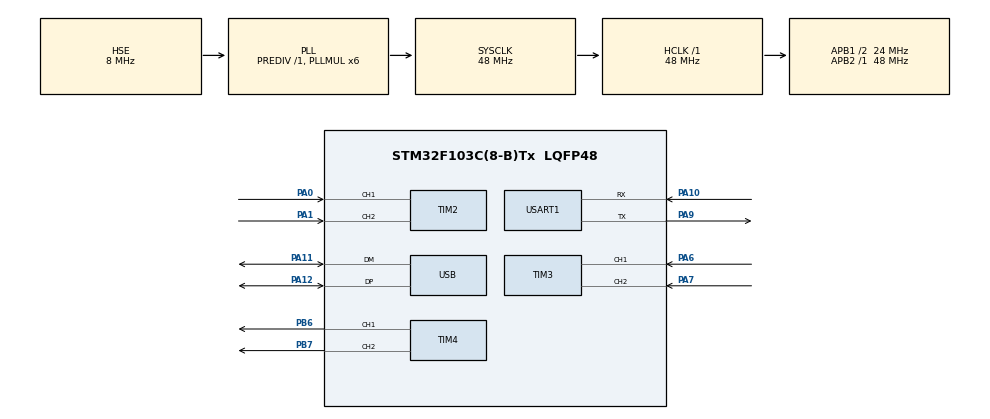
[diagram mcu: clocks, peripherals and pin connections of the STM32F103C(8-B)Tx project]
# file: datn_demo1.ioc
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Dma.Request0=USART1_RX
Dma.Request1=USART1_TX
Dma.USART1_RX.0.Direction=DMA_PERIPH_TO_MEMORY
Dma.USART1_RX.0.Instance=DMA1_Channel5
Dma.USART1_RX.0.MemDataAlignment=DMA_MDATAALIGN_BYTE
Dma.USART1_RX.0.MemInc=DMA_MINC_ENABLE
Dma.USART1_RX.0.Mode=DMA_NORMAL
Dma.USART1_RX.0.PeriphDataAlignment=DMA_PDATAALIGN_BYTE
Dma.USART1_RX.0.PeriphInc=DMA_PINC_DISABLE
Dma.USART1_RX.0.Priority=DMA_PRIORITY_VERY_HIGH
Dma.USART1_TX.1.Direction=DMA_MEMORY_TO_PERIPH
Dma.USART1_TX.1.Instance=DMA1_Channel4
Dma.USART1_TX.1.MemDataAlignment=DMA_MDATAALIGN_BYTE
Dma.USART1_TX.1.MemInc=DMA_MINC_ENABLE
Dma.USART1_TX.1.Mode=DMA_CIRCULAR
Dma.USART1_TX.1.PeriphDataAlignment=DMA_PDATAALIGN_BYTE
Dma.USART1_TX.1.PeriphInc=DMA_PINC_DISABLE
Dma.USART1_TX.1.Priority=DMA_PRIORITY_VERY_HIGH
FREERTOS.Tasks01=defaultTask,24,128,StartDefaultTask,Default,NULL,Dynamic,NULL,NULL
Mcu.Family=STM32F1
Mcu.Name=STM32F103C(8-B)Tx
Mcu.Package=LQFP48
NVIC.DMA1_Channel4_IRQn=true\:5\:0\:false\:false\:true\:true\:false\:true\:true
NVIC.DMA1_Channel5_IRQn=true\:5\:0\:false\:false\:true\:true\:false\:true\:true
NVIC.PriorityGroup=NVIC_PRIORITYGROUP_4
NVIC.TIM1_UP_IRQn=true\:15\:0\:false\:false\:true\:false\:false\:true\:true
NVIC.TimeBase=TIM1_UP_IRQn
NVIC.TimeBaseIP=TIM1
NVIC.USART1_IRQn=true\:5\:0\:false\:false\:true\:true\:true\:true\:true
NVIC.USB_LP_CAN1_RX0_IRQn=true\:5\:0\:false\:false\:true\:true\:false\:true\:true
PA0-WKUP.Signal=S_TIM2_CH1_ETR
PA1.Signal=S_TIM2_CH2
PA10.Mode=Asynchronous
PA10.Signal=USART1_RX
PA11.Mode=Device
PA11.Signal=USB_DM
PA12.Mode=Device
PA12.Signal=USB_DP
PA13.Mode=Serial_Wire
PA13.Signal=SYS_JTMS-SWDIO
PA14.Mode=Serial_Wire
PA14.Signal=SYS_JTCK-SWCLK
PA6.Signal=S_TIM3_CH1
PA7.Signal=S_TIM3_CH2
PA9.Mode=Asynchronous
PA9.Signal=USART1_TX
PB6.Signal=S_TIM4_CH1
PB7.Signal=S_TIM4_CH2
PD0-OSC_IN.Mode=HSE-External-Oscillator
PD0-OSC_IN.Signal=RCC_OSC_IN
PD1-OSC_OUT.Mode=HSE-External-Oscillator
PD1-OSC_OUT.Signal=RCC_OSC_OUT
ProjectManager.HeapSize=0x200
ProjectManager.StackSize=0x400
ProjectManager.TargetToolchain=MDK-ARM V5.32
RCC.AHBFreq_Value=48000000
RCC.APB1CLKDivider=RCC_HCLK_DIV2
RCC.APB1Freq_Value=24000000
RCC.APB1TimFreq_Value=48000000
RCC.APB2Freq_Value=48000000
RCC.APB2TimFreq_Value=48000000
RCC.HCLKFreq_Value=48000000
RCC.PLLMUL=RCC_PLL_MUL6
RCC.PLLSourceVirtual=RCC_PLLSOURCE_HSE
RCC.SYSCLKFreq_VALUE=48000000
RCC.SYSCLKSource=RCC_SYSCLKSOURCE_PLLCLK
RCC.USBFreq_Value=48000000
SH.S_TIM2_CH1_ETR.0=TIM2_CH1,Encoder_Interface
SH.S_TIM2_CH2.0=TIM2_CH2,Encoder_Interface
SH.S_TIM3_CH1.0=TIM3_CH1,Encoder_Interface
SH.S_TIM3_CH2.0=TIM3_CH2,Encoder_Interface
SH.S_TIM4_CH1.0=TIM4_CH1,PWM Generation1 CH1
SH.S_TIM4_CH2.0=TIM4_CH2,PWM Generation2 CH2
TIM4.Channel-PWM\ Generation1\ CH1=TIM_CHANNEL_1
TIM4.Channel-PWM\ Generation2\ CH2=TIM_CHANNEL_2
USART1.VirtualMode=VM_ASYNC
USB_DEVICE.CLASS_NAME_FS=CDC
USB_DEVICE.VirtualMode=Cdc
USB_DEVICE.VirtualModeFS=Cdc_FS
VP_FREERTOS_VS_CMSIS_V2.Mode=CMSIS_V2
VP_SYS_VS_tim1.Mode=TIM1
VP_USB_DEVICE_VS_USB_DEVICE_CDC_FS.Mode=CDC_FS
board=custom

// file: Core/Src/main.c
 /* USER CODE BEGIN Header */
/**
  ******************************************************************************
  * @file           : main.c
  * @brief          : Main program body (Encoder + PWM Test)
  ******************************************************************************
  */
/* USER CODE END Header */
#include "main.h"
#include "cmsis_os.h"
#include "usb_device.h"
/* USER CODE BEGIN Includes */
#include "pid.h"
#include "stdlib.h"
#include "stdio.h"
#include <string.h>
#include "usbd_cdc_if.h"
/* USER CODE END Includes */
TIM_HandleTypeDef htim2;
TIM_HandleTypeDef htim3;
TIM_HandleTypeDef htim4;
UART_HandleTypeDef huart1;
DMA_HandleTypeDef hdma_usart1_rx;
DMA_HandleTypeDef hdma_usart1_tx;
/* Definitions for defaultTask */
osThreadId_t defaultTaskHandle;
const osThreadAttr_t defaultTask_attributes = {
  .name = "defaultTask",
  .stack_size = 128 * 4,
  .priority = (osPriority_t) osPriorityNormal,
};
/* USER CODE BEGIN PV */
// --- Biến Encoder tích lũy (Phục vụ lệnh 'e') ---
int32_t total_encoder_left  = 0;
int32_t total_encoder_right = 0;
int16_t last_count_left     = 0;
int16_t last_count_right    = 0;
// --- Biến Vận tốc mục tiêu (Phục vụ lệnh 'm') ---
float target_speed_left  = 0.0f; // Đơn vị: xung / chu kỳ (20ms)
float target_speed_right = 0.0f;
// --- Biến USB Parser ---
char rx_buffer[64];
uint8_t rx_index = 0;
uint8_t openloop_mode = 0;
// --- Biến Debug ---
volatile int16_t debug_delta_left  = 0;
volatile int16_t debug_delta_right = 0;
volatile int32_t debug_pwm_left    = 0;
volatile int32_t debug_pwm_right   = 0;
uint8_t debug_mode = 0;  // 1 = in liên tục delta và PWM
// --- PID cho từng bánh xe (Vòng lặp vận tốc) ---
pid_type_def pid_speed_left;
pid_type_def pid_speed_right;
fp32 params_L[3] = {9.5f,  42.0f, 0.0f};   // Giảm Kp: 11.5→9.5, Ki: 49.8→42.0
fp32 params_R[3] = {60.48f, 85.00f, 0.0f};  // Giữ nguyên bánh phải
// --- Feedforward: PWM tối thiểu để thắng lực ma sát tĩnh ---
#define FF_OFFSET_LEFT   40000.0f
#define FF_OFFSET_RIGHT  60000.0f
#define FF_OFFSET_TURN   50000.0f   // Dùng khi xoay tại chỗ
#define FF_SLOPE_LEFT    80.1f
#define FF_SLOPE_RIGHT   800.1f
#define FF_SLOPE_LEFT_BWD    40.0f
osThreadId_t ChassisTaskHandle;
const osThreadAttr_t ChassisTask_attributes = {
    .name       = "ChassisTask",
    .stack_size = 512 * 4,
    .priority   = (osPriority_t) osPriorityRealtime,
};
/* USER CODE END PV */
void SystemClock_Config(void);
static void MX_GPIO_Init(void);
static void MX_DMA_Init(void);
static void MX_TIM2_Init(void);
static void MX_TIM3_Init(void);
static void MX_TIM4_Init(void);
static void MX_USART1_UART_Init(void);
void StartDefaultTask(void *argument);
/* USER CODE BEGIN PFP */
void stopMotors(void);
void setMotorOutput(int32_t out_l, int32_t out_r);
void StartChassisTask(void *argument);
void USB_Receive_Handler(uint8_t* Buf, uint32_t Len);
/* USER CODE END PFP */
/* USER CODE BEGIN 0 */
// --- Hàm gửi qua USB CDC (chuyển hướng printf) ---
int _write(int file, char *ptr, int len) {
    uint32_t timeout = 0xFFFF;
    while (CDC_Transmit_FS((uint8_t*)ptr, len) == USBD_BUSY && timeout--);
    return len;
}
// --- Gửi chuỗi qua USB CDC ---
void USB_SendString(const char* str) {
    uint16_t len = strlen(str);
    uint32_t timeout = 0xFFFF;
    while (CDC_Transmit_FS((uint8_t*)str, len) == USBD_BUSY && timeout--);
}
// --- Callback nhận dữ liệu từ USB CDC ---
void USB_Receive_Handler(uint8_t* Buf, uint32_t Len) {
    for (uint32_t i = 0; i < Len; i++) {
        uint8_t data = Buf[i];
        if (data == '\r' || data == '\n') {
            rx_buffer[rx_index] = '\0';
            if (rx_index > 0) {
                // Lệnh 'm': Đặt vận tốc mục tiêu (m [speed_L] [speed_R])
                if (rx_buffer[0] == 'm') {
                    float sl = 0, sr = 0;
                    int parsed = sscanf(rx_buffer, "m %f %f", &sl, &sr);
                    if (parsed == 2) {
                        target_speed_left  = sl;
                        target_speed_right = sr;
                        USB_SendString("motor ok\n");
                    }
                }
                // Lệnh 'e': Đọc encoder tích lũy
                else if (rx_buffer[0] == 'e') {
                    char tx_buf[64];
                    int t_len = sprintf(tx_buf, "%ld %ld\n", total_encoder_left, total_encoder_right);
                    CDC_Transmit_FS((uint8_t*)tx_buf, t_len);
                }
                // Lệnh 'r': Reset encoder về 0
                else if (rx_buffer[0] == 'r') {
                    total_encoder_left  = 0;
                    total_encoder_right = 0;
                    USB_SendString("reset ok\n");
                }
                // Lệnh 's': Dừng khẩn cấp
                else if (rx_buffer[0] == 's') {
                    target_speed_left  = 0;
                    target_speed_right = 0;
                    USB_SendString("stop ok\n");
                }
                // Lệnh 'd': Bật/tắt debug (in delta và PWM liên tục)
                else if (rx_buffer[0] == 'd') {
                    debug_mode = !debug_mode;
                    USB_SendString(debug_mode ? "debug on\n" : "debug off\n");
                }
                // Lệnh 'u': Cập nhật tham số PID từ ROS (u Kp:Kd:Ki:Ko)
                else if (rx_buffer[0] == 'u') {
                    int p = 0, d = 0, i = 0, o = 0;
                    int parsed = sscanf(rx_buffer, "u %d:%d:%d:%d", &p, &d, &i, &o);
                    if (parsed >= 3) {
                        params_L[0] = (float)p; params_R[0] = (float)p;
                        params_L[1] = (float)i; params_R[1] = (float)i;
                        params_L[2] = (float)d; params_R[2] = (float)d;
                        PID_init(&pid_speed_left, PID_POSITION, params_L, 65535, 8500);
                        PID_init(&pid_speed_right, PID_POSITION, params_R, 65535, 10000);
                    }
                    USB_SendString("pid ok\n");
                }
                else if (rx_buffer[0] == 'p') {
                openloop_mode = 1;
                int32_t pwm = 0;
                sscanf(rx_buffer, "p %ld", &pwm);
                target_speed_left  = 0;
                target_speed_right = 0;
                // Cấp thẳng PWM, bypass PID
                HAL_GPIO_WritePin(GPIOB, GPIO_PIN_12, GPIO_PIN_RESET);
                HAL_GPIO_WritePin(GPIOB, GPIO_PIN_13, GPIO_PIN_SET);
                HAL_GPIO_WritePin(GPIOB, BIN14_Pin,   GPIO_PIN_RESET);
                HAL_GPIO_WritePin(GPIOB, BIN15_Pin,   GPIO_PIN_SET);
                __HAL_TIM_SET_COMPARE(&htim4, TIM_CHANNEL_1, (uint32_t)pwm);
                __HAL_TIM_SET_COMPARE(&htim4, TIM_CHANNEL_2, (uint32_t)pwm);
                USB_SendString("pwm ok\n");
                 }
            }
            rx_index = 0;
        } else {
            if (rx_index < 63) rx_buffer[rx_index++] = data;
        }
    }
}
// --- Hàm xuất PWM dựa trên giá trị PID (Xử lý chiều quay) ---
void setMotorOutput(int32_t out_l, int32_t out_r) {
    debug_pwm_left  = out_l;
    debug_pwm_right = out_r;

    // Motor Trái
    if (out_l > 0) {
        HAL_GPIO_WritePin(GPIOB, GPIO_PIN_12, GPIO_PIN_RESET);
        HAL_GPIO_WritePin(GPIOB, GPIO_PIN_13, GPIO_PIN_SET);
    } else if (out_l < 0) {
        HAL_GPIO_WritePin(GPIOB, GPIO_PIN_12, GPIO_PIN_SET);
        HAL_GPIO_WritePin(GPIOB, GPIO_PIN_13, GPIO_PIN_RESET);
        out_l = -out_l;
    } else {  // out_l == 0
        HAL_GPIO_WritePin(GPIOB, GPIO_PIN_12, GPIO_PIN_RESET);
        HAL_GPIO_WritePin(GPIOB, GPIO_PIN_13, GPIO_PIN_RESET);
    }

    // Motor Phải
    if (out_r > 0) {
        HAL_GPIO_WritePin(GPIOB, BIN14_Pin, GPIO_PIN_RESET);
        HAL_GPIO_WritePin(GPIOB, BIN15_Pin, GPIO_PIN_SET);
    } else if (out_r < 0) {
        HAL_GPIO_WritePin(GPIOB, BIN14_Pin, GPIO_PIN_SET);
        HAL_GPIO_WritePin(GPIOB, BIN15_Pin, GPIO_PIN_RESET);
        out_r = -out_r;
    } else {  // out_r == 0
        HAL_GPIO_WritePin(GPIOB, BIN14_Pin, GPIO_PIN_RESET);
        HAL_GPIO_WritePin(GPIOB, BIN15_Pin, GPIO_PIN_RESET);
    }

    if (out_l > 65535) out_l = 65535;
    if (out_r > 65535) out_r = 65535;

    __HAL_TIM_SET_COMPARE(&htim4, TIM_CHANNEL_1, out_l);
    __HAL_TIM_SET_COMPARE(&htim4, TIM_CHANNEL_2, out_r);
}
void stopMotors(void)
{
    HAL_GPIO_WritePin(GPIOB, GPIO_PIN_12, GPIO_PIN_RESET);
    HAL_GPIO_WritePin(GPIOB, GPIO_PIN_13, GPIO_PIN_RESET);
    HAL_GPIO_WritePin(GPIOB, BIN14_Pin,   GPIO_PIN_RESET);
    HAL_GPIO_WritePin(GPIOB, BIN15_Pin,   GPIO_PIN_RESET);
    __HAL_TIM_SET_COMPARE(&htim4, TIM_CHANNEL_1, 0);
    __HAL_TIM_SET_COMPARE(&htim4, TIM_CHANNEL_2, 0);
}
/* USER CODE END 0 */
int main(void)
{
  /* MCU Configuration--------------------------------------------------------*/
  /* Reset of all peripherals, Initializes the Flash interface and the Systick. */
  HAL_Init();
  /* Configure the system clock */
  SystemClock_Config();
  /* Initialize all configured peripherals */
  MX_GPIO_Init();
  MX_DMA_Init();
  MX_TIM2_Init();
  MX_TIM3_Init();
  MX_TIM4_Init();
  MX_USART1_UART_Init();
  /* USER CODE BEGIN 2 */
    // Khởi tạo PID vận tốc cho 2 bánh
    PID_init(&pid_speed_left, PID_POSITION, params_L, 65535, 8500);
    PID_init(&pid_speed_right, PID_POSITION, params_R, 65535, 10000);
    HAL_TIM_PWM_Start(&htim4, TIM_CHANNEL_1);
    HAL_TIM_PWM_Start(&htim4, TIM_CHANNEL_2);
    HAL_TIM_Encoder_Start(&htim2, TIM_CHANNEL_ALL);
    HAL_TIM_Encoder_Start(&htim3, TIM_CHANNEL_ALL);
    ChassisTaskHandle = osThreadNew(StartChassisTask, NULL, &ChassisTask_attributes);
  /* USER CODE END 2 */
  /* Init scheduler */
  osKernelInitialize();
  /* Create the thread(s) */
  /* creation of defaultTask */
  defaultTaskHandle = osThreadNew(StartDefaultTask, NULL, &defaultTask_attributes);
  /* Start scheduler */
  osKernelStart();
  /* We should never get here as control is now taken by the scheduler */
  /* Infinite loop */
  while (1)
  {
  }
}
void SystemClock_Config(void)
{
  RCC_OscInitTypeDef RCC_OscInitStruct = {0};
  RCC_ClkInitTypeDef RCC_ClkInitStruct = {0};
  RCC_PeriphCLKInitTypeDef PeriphClkInit = {0};
  /** Initializes the RCC Oscillators according to the specified parameters
  * in the RCC_OscInitTypeDef structure.
  */
  RCC_OscInitStruct.OscillatorType = RCC_OSCILLATORTYPE_HSE;
  RCC_OscInitStruct.HSEState = RCC_HSE_ON;
  RCC_OscInitStruct.HSEPredivValue = RCC_HSE_PREDIV_DIV1;
  RCC_OscInitStruct.HSIState = RCC_HSI_ON;
  RCC_OscInitStruct.PLL.PLLState = RCC_PLL_ON;
  RCC_OscInitStruct.PLL.PLLSource = RCC_PLLSOURCE_HSE;
  RCC_OscInitStruct.PLL.PLLMUL = RCC_PLL_MUL6;
  if (HAL_RCC_OscConfig(&RCC_OscInitStruct) != HAL_OK)
  {
    Error_Handler();
  }
  /** Initializes the CPU, AHB and APB buses clocks
  */
  RCC_ClkInitStruct.ClockType = RCC_CLOCKTYPE_HCLK|RCC_CLOCKTYPE_SYSCLK
                              |RCC_CLOCKTYPE_PCLK1|RCC_CLOCKTYPE_PCLK2;
  RCC_ClkInitStruct.SYSCLKSource = RCC_SYSCLKSOURCE_PLLCLK;
  RCC_ClkInitStruct.AHBCLKDivider = RCC_SYSCLK_DIV1;
  RCC_ClkInitStruct.APB1CLKDivider = RCC_HCLK_DIV2;
  RCC_ClkInitStruct.APB2CLKDivider = RCC_HCLK_DIV1;
  if (HAL_RCC_ClockConfig(&RCC_ClkInitStruct, FLASH_LATENCY_1) != HAL_OK)
  {
    Error_Handler();
  }
  PeriphClkInit.PeriphClockSelection = RCC_PERIPHCLK_USB;
  PeriphClkInit.UsbClockSelection = RCC_USBCLKSOURCE_PLL;
  if (HAL_RCCEx_PeriphCLKConfig(&PeriphClkInit) != HAL_OK)
  {
    Error_Handler();
  }
}
static void MX_TIM2_Init(void)
{
  TIM_Encoder_InitTypeDef sConfig = {0};
  TIM_MasterConfigTypeDef sMasterConfig = {0};
  htim2.Instance = TIM2;
  htim2.Init.Prescaler = 0;
  htim2.Init.CounterMode = TIM_COUNTERMODE_UP;
  htim2.Init.Period = 65535;
  htim2.Init.ClockDivision = TIM_CLOCKDIVISION_DIV1;
  htim2.Init.AutoReloadPreload = TIM_AUTORELOAD_PRELOAD_DISABLE;
  sConfig.EncoderMode = TIM_ENCODERMODE_TI12;
  sConfig.IC1Polarity = TIM_ICPOLARITY_RISING;
  sConfig.IC1Selection = TIM_ICSELECTION_DIRECTTI;
  sConfig.IC1Prescaler = TIM_ICPSC_DIV1;
  sConfig.IC1Filter = 15;
  sConfig.IC2Polarity = TIM_ICPOLARITY_RISING;
  sConfig.IC2Selection = TIM_ICSELECTION_DIRECTTI;
  sConfig.IC2Prescaler = TIM_ICPSC_DIV1;
  sConfig.IC2Filter = 15;
  if (HAL_TIM_Encoder_Init(&htim2, &sConfig) != HAL_OK)
  {
    Error_Handler();
  }
  sMasterConfig.MasterOutputTrigger = TIM_TRGO_RESET;
  sMasterConfig.MasterSlaveMode = TIM_MASTERSLAVEMODE_DISABLE;
  if (HAL_TIMEx_MasterConfigSynchronization(&htim2, &sMasterConfig) != HAL_OK)
  {
    Error_Handler();
  }
}
static void MX_TIM3_Init(void)
{
  TIM_Encoder_InitTypeDef sConfig = {0};
  TIM_MasterConfigTypeDef sMasterConfig = {0};
  htim3.Instance = TIM3;
  htim3.Init.Prescaler = 0;
  htim3.Init.CounterMode = TIM_COUNTERMODE_UP;
  htim3.Init.Period = 65535;
  htim3.Init.ClockDivision = TIM_CLOCKDIVISION_DIV1;
  htim3.Init.AutoReloadPreload = TIM_AUTORELOAD_PRELOAD_DISABLE;
  sConfig.EncoderMode = TIM_ENCODERMODE_TI12;
  sConfig.IC1Polarity = TIM_ICPOLARITY_RISING;
  sConfig.IC1Selection = TIM_ICSELECTION_DIRECTTI;
  sConfig.IC1Prescaler = TIM_ICPSC_DIV1;
  sConfig.IC1Filter = 15;
  sConfig.IC2Polarity = TIM_ICPOLARITY_RISING;
  sConfig.IC2Selection = TIM_ICSELECTION_DIRECTTI;
  sConfig.IC2Prescaler = TIM_ICPSC_DIV1;
  sConfig.IC2Filter = 15;
  if (HAL_TIM_Encoder_Init(&htim3, &sConfig) != HAL_OK)
  {
    Error_Handler();
  }
  sMasterConfig.MasterOutputTrigger = TIM_TRGO_RESET;
  sMasterConfig.MasterSlaveMode = TIM_MASTERSLAVEMODE_DISABLE;
  if (HAL_TIMEx_MasterConfigSynchronization(&htim3, &sMasterConfig) != HAL_OK)
  {
    Error_Handler();
  }
}
static void MX_TIM4_Init(void)
{
  TIM_MasterConfigTypeDef sMasterConfig = {0};
  TIM_OC_InitTypeDef sConfigOC = {0};
  htim4.Instance = TIM4;
  htim4.Init.Prescaler = 0;
  htim4.Init.CounterMode = TIM_COUNTERMODE_UP;
  htim4.Init.Period = 65535;
  htim4.Init.ClockDivision = TIM_CLOCKDIVISION_DIV1;
  htim4.Init.AutoReloadPreload = TIM_AUTORELOAD_PRELOAD_DISABLE;
  if (HAL_TIM_PWM_Init(&htim4) != HAL_OK)
  {
    Error_Handler();
  }
  sMasterConfig.MasterOutputTrigger = TIM_TRGO_RESET;
  sMasterConfig.MasterSlaveMode = TIM_MASTERSLAVEMODE_DISABLE;
  if (HAL_TIMEx_MasterConfigSynchronization(&htim4, &sMasterConfig) != HAL_OK)
  {
    Error_Handler();
  }
  sConfigOC.OCMode = TIM_OCMODE_PWM1;
  sConfigOC.Pulse = 0;
  sConfigOC.OCPolarity = TIM_OCPOLARITY_HIGH;
  sConfigOC.OCFastMode = TIM_OCFAST_DISABLE;
  if (HAL_TIM_PWM_ConfigChannel(&htim4, &sConfigOC, TIM_CHANNEL_1) != HAL_OK)
  {
    Error_Handler();
  }
  if (HAL_TIM_PWM_ConfigChannel(&htim4, &sConfigOC, TIM_CHANNEL_2) != HAL_OK)
  {
    Error_Handler();
  }
  /* USER CODE BEGIN TIM4_Init 2 */
    HAL_TIM_MspPostInit(&htim4);
  /* USER CODE END TIM4_Init 2 */
}
static void MX_USART1_UART_Init(void)
{
  huart1.Instance = USART1;
  huart1.Init.BaudRate = 115200;
  huart1.Init.WordLength = UART_WORDLENGTH_8B;
  huart1.Init.StopBits = UART_STOPBITS_1;
  huart1.Init.Parity = UART_PARITY_NONE;
  huart1.Init.Mode = UART_MODE_TX_RX;
  huart1.Init.HwFlowCtl = UART_HWCONTROL_NONE;
  huart1.Init.OverSampling = UART_OVERSAMPLING_16;
  if (HAL_UART_Init(&huart1) != HAL_OK)
  {
    Error_Handler();
  }
}
static void MX_DMA_Init(void)
{
  /* DMA controller clock enable */
  __HAL_RCC_DMA1_CLK_ENABLE();
  /* DMA interrupt init */
  /* DMA1_Channel4_IRQn interrupt configuration */
  HAL_NVIC_SetPriority(DMA1_Channel4_IRQn, 5, 0);
  HAL_NVIC_EnableIRQ(DMA1_Channel4_IRQn);
  /* DMA1_Channel5_IRQn interrupt configuration */
  HAL_NVIC_SetPriority(DMA1_Channel5_IRQn, 5, 0);
  HAL_NVIC_EnableIRQ(DMA1_Channel5_IRQn);
}
static void MX_GPIO_Init(void)
{
  /* GPIO Ports Clock Enable */
  __HAL_RCC_GPIOD_CLK_ENABLE();
  __HAL_RCC_GPIOA_CLK_ENABLE();
  __HAL_RCC_GPIOB_CLK_ENABLE();
  /* USER CODE BEGIN MX_GPIO_Init_2 */
GPIO_InitTypeDef GPIO_InitStruct = {0};
  GPIO_InitStruct.Pin   = BIN12_Pin | BIN13_Pin | BIN14_Pin | BIN15_Pin;
  GPIO_InitStruct.Mode  = GPIO_MODE_OUTPUT_PP;
  GPIO_InitStruct.Pull  = GPIO_NOPULL;
  GPIO_InitStruct.Speed = GPIO_SPEED_FREQ_LOW;
  HAL_GPIO_Init(GPIOB, &GPIO_InitStruct);
  HAL_GPIO_WritePin(GPIOB, BIN12_Pin | BIN13_Pin | BIN14_Pin | BIN15_Pin, GPIO_PIN_RESET);
  /* USER CODE END MX_GPIO_Init_2 */
}
/* USER CODE BEGIN 4 */
void StartChassisTask(void *argument) {
    for (;;) {
        // --- 1. Đọc encoder ---
        int16_t current_left  = (int16_t)__HAL_TIM_GET_COUNTER(&htim2);
        int16_t current_right = (int16_t)__HAL_TIM_GET_COUNTER(&htim3);
        int16_t delta_left  = -(current_left  - last_count_left);
        int16_t delta_right = -(current_right - last_count_right);
        last_count_left  = current_left;
        last_count_right = current_right;
        total_encoder_left  += delta_left;
        total_encoder_right += delta_right;

        // --- 2. Debug mode ---
        if (debug_mode) {
            char raw_buf[32];
            int raw_len = sprintf(raw_buf, "%d,%d\n", delta_left, delta_right);
            CDC_Transmit_FS((uint8_t*)raw_buf, raw_len);
        }

        // --- 3. Điều khiển ---
        if (target_speed_left == 0 && target_speed_right == 0) {
            stopMotors();
            PID_clear(&pid_speed_left);
            PID_clear(&pid_speed_right);
        } else {
						float ff_l = 0, ff_r = 0;
						float cur_offset_l = FF_OFFSET_LEFT;
						float cur_offset_r = FF_OFFSET_RIGHT;

						// Tự động nhận diện chế độ Xoay (hai bánh ngược chiều)
						if (target_speed_left * target_speed_right < 0) {
								cur_offset_l = FF_OFFSET_TURN;
								cur_offset_r = FF_OFFSET_TURN;
						}

						if (target_speed_left > 0)
								ff_l =  cur_offset_l + target_speed_left * FF_SLOPE_LEFT;
						else if (target_speed_left < 0)
								ff_l = -(cur_offset_l + (-target_speed_left) * FF_SLOPE_LEFT_BWD);

						if (target_speed_right > 0)
								ff_r =  cur_offset_r + target_speed_right * FF_SLOPE_RIGHT;
						else if (target_speed_right < 0)
								ff_r = -(cur_offset_r + (-target_speed_right) * FF_SLOPE_RIGHT);

						float pid_l = PID_calc(&pid_speed_left,  (float)delta_left,  target_speed_left);
						float pid_r = PID_calc(&pid_speed_right, (float)delta_right, target_speed_right);

						int32_t out_l, out_r;

						if (target_speed_left == 0) {
								PID_clear(&pid_speed_left);
								out_l = 0;
						} else {
								out_l = (int32_t)(ff_l + pid_l);
								if (target_speed_left > 0 && out_l < 0) out_l = 0;
								if (target_speed_left < 0 && out_l > 0) out_l = 0;
						}

						if (target_speed_right == 0) {
								PID_clear(&pid_speed_right);
								out_r = 0;
						} else {
								out_r = (int32_t)(ff_r + pid_r);
								if (target_speed_right > 0 && out_r < 0) out_r = 0;
								if (target_speed_right < 0 && out_r > 0) out_r = 0;
						}

						setMotorOutput(out_l, out_r);
				}

        osDelay(20);
    }
}
/* USER CODE END 4 */
void StartDefaultTask(void *argument)
{
  /* init code for USB_DEVICE */
  MX_USB_DEVICE_Init();
  /* USER CODE BEGIN 5 */
  for(;;)
  {
    osDelay(100);
  }
  /* USER CODE END 5 */
}
void HAL_TIM_PeriodElapsedCallback(TIM_HandleTypeDef *htim)
{
  if (htim->Instance == TIM1)
  {
    HAL_IncTick();
  }
}
void Error_Handler(void)
{
    __disable_irq();
    while (1)
    {
    }
}
